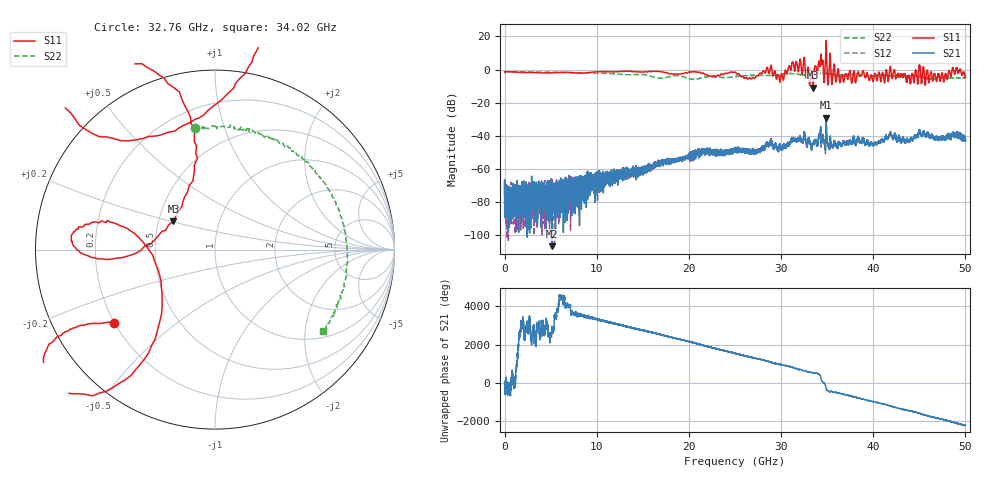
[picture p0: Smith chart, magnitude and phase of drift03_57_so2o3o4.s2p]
!Created with skrf (http://scikit-rf.org).
# Hz S RI R 50.0
!freq ReS11 ImS11 ReS21 ImS21 ReS12 ImS12 ReS22 ImS22
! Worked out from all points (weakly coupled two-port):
!   10001 points, 300 kHz to 50 GHz, reference 50 ohm
!   highest |S21| = -29.16 dB at 34.89 GHz (marker M1); lowest = -106.7 dB at 5.15 GHz (marker M2)
!   lowest |S11| = -11.0 dB at 33.47 GHz (marker M3), VSWR 1.78, Z = 29.9 + j10.3 ohm
!   |S11| at or under -10 dB: 33.44865 GHz to 33.48346 GHz (34.81 MHz wide, 0.104 % of centre)
!   |S22| runs from -5.9 to -1.3 dB; largest |S21 - S12| = 0.0082
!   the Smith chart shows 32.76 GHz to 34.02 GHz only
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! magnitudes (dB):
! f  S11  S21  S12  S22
! 300 kHz  -1.3  -75.3  -68.0  -2.1
! 420.3 MHz  -1.4  -76.8  -81.3  -1.4
! 5.15 GHz  -2.0  -106.7  -75.9  -1.6
! 8.335 GHz  -2.2  -72.6  -66.9  -1.9
! 16.67 GHz  -1.1  -56.8  -55.9  -5.2
! 25 GHz  -1.5  -48.0  -48.9  -4.3
! 26.92 GHz  -4.9  -49.3  -48.6  -3.6
! 28.73 GHz  -2.2  -45.3  -45.5  -3.5
! 30.06 GHz  -2.5  -47.3  -47.3  -2.8
! 31.87 GHz  -1.4  -42.9  -41.6  -2.9
! 33.34 GHz  -2.2  -47.4  -47.6  -2.9
! 33.47 GHz  -11.0  -44.0  -45.1  -2.8
! 34.3 GHz  7.9  -34.4  -35.4  -2.3
! 34.89 GHz  17.0  -29.2  -31.5  -2.4
! 36.58 GHz  -3.5  -46.1  -46.1  -3.6
! 40.16 GHz  -2.8  -44.2  -44.8  -3.7
! 41.67 GHz  -5.4  -40.4  -40.5  -3.7
! 43.84 GHz  -3.6  -43.8  -43.4  -3.9
! 45.21 GHz  -7.2  -39.8  -40.1  -4.5
! 47.06 GHz  -2.6  -41.9  -41.6  -5.1
! 49.21 GHz  -2.1  -40.3  -39.7  -5.1
! 50 GHz  -4.8  -43.1  -43.7  -5.0
